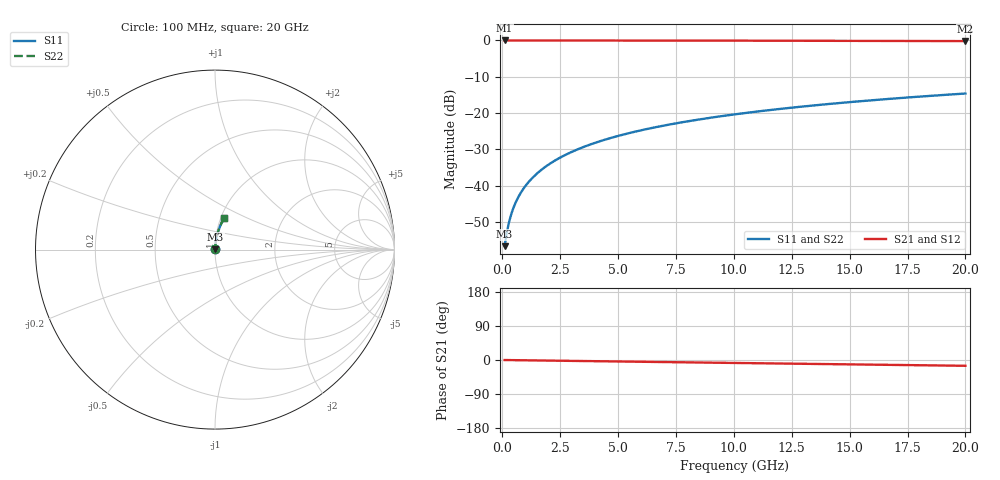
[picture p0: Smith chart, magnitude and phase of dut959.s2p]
! Touchstone file exported from HFSS 2026.1.0
!  File:  C:/ffzhzh/LocalFiles/Ansys_Project_Files/temp_train_TMRDL_959_1783158816_43440.aedt
!  Generated:  05:54:57 PM Jul  4, 2026
!  Design:  TMRDL
!  Project:  temp_train_TMRDL_959_1783158816_43440
! Variables:
!  h_bsmrdl = 2um
!  h_ox = 20um
!  h_rdl = 5um
!  h_sub = 80um
!  h_tmrdl = 3.2um
!  h_tsv = 80um
!  h_via = 3um
!  l_bsmrdl = 300um
!  l_sub = 548.93um
!  l_tmrdl = 148.93um
!  m_sub = 200um
!  pitch = 58.68um
!  r_tsv = 6um
!  s_tmrdl = 10um
!  w_bsmrdl = 18um
!  w_sub = 500um
!  w_tmrdl = 20.25um
!  x_tsv_center1 = 159.055um
!  x_tsv_center2 = 477.055um
!  x_tsv_center3 = 646.235um
!  x_tsv_center4 = 964.235um
!  x_tsv_center5 = 1133.415um
!  x_tsv_center6 = 1451.415um
# GHz S MA R 50.000000
! Terminal data exported
! Port[1] = TM_RDL1_1_T1
! Port[2] = TM_RDL1_1_T2
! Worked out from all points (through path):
!   200 points, 100 MHz to 20 GHz, reference 50 ohm
!   highest |S21| = -0.01 dB at 100 MHz (marker M1); lowest = -0.2 dB at 20 GHz (marker M2)
!   group delay of S21, straight-line fit = 2.12 ps
!   lowest |S11| = -56.6 dB at 100 MHz (marker M3), VSWR 1.00, Z = 50.1 + j0.103 ohm
!   |S11| at or under -10 dB: start of sweep to end of sweep
!   |S22| runs from -56.6 to -14.6 dB; largest |S21 - S12| = 3.1e-15
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0.1  0.001471 44.2  0.9989 -0.1  0.9989 -0.1  0.001471 44.2
! Gamma 0 0 0 0
! Port Impedance 50 0 50 0
0.2  0.002311 61.9  0.9989 -0.2  0.9989 -0.2  0.002311 61.9
0.3  0.00324 69.6  0.9989 -0.2  0.9989 -0.2  0.00324 69.6
0.4  0.004189 73.7  0.9988 -0.3  0.9988 -0.3  0.004189 73.7
0.5  0.005141 76.3  0.9988 -0.4  0.9988 -0.4  0.005141 76.3
0.7  0.007049 79.4  0.9987 -0.6  0.9987 -0.6  0.007049 79.4
0.8  0.008005 80.4  0.9987 -0.6  0.9987 -0.6  0.008005 80.4
1  0.009921 81.8  0.9987 -0.8  0.9987 -0.8  0.009921 81.8
1.2  0.01184 82.7  0.9986 -0.9  0.9986 -0.9  0.01184 82.7
1.4  0.01377 83.4  0.9986 -1.1  0.9986 -1.1  0.01377 83.4
1.7  0.01666 84.0  0.9985 -1.3  0.9985 -1.3  0.01666 84.0
2  0.01956 84.4  0.9984 -1.6  0.9984 -1.6  0.01956 84.4
2.7  0.02632 84.7  0.9982 -2.1  0.9982 -2.1  0.02632 84.7
3.5  0.03404 84.7  0.9979 -2.7  0.9979 -2.7  0.03404 84.7
4.2  0.04077 84.4  0.9975 -3.3  0.9975 -3.3  0.04077 84.4
5  0.04844 84.0  0.9971 -3.9  0.9971 -3.9  0.04844 84.0
6.8  0.06559 82.9  0.9958 -5.3  0.9958 -5.3  0.06559 82.9
8.3  0.07975 81.9  0.9945 -6.5  0.9945 -6.5  0.07975 81.9
10.1  0.09657 80.6  0.9927 -7.9  0.9927 -7.9  0.09657 80.6
13.4  0.127 78.2  0.9888 -10.4  0.9888 -10.4  0.127 78.2
16.7  0.1567 75.9  0.9841 -12.8  0.9841 -12.8  0.1567 75.9
20  0.1858 73.5  0.9787 -15.3  0.9787 -15.3  0.1858 73.5
